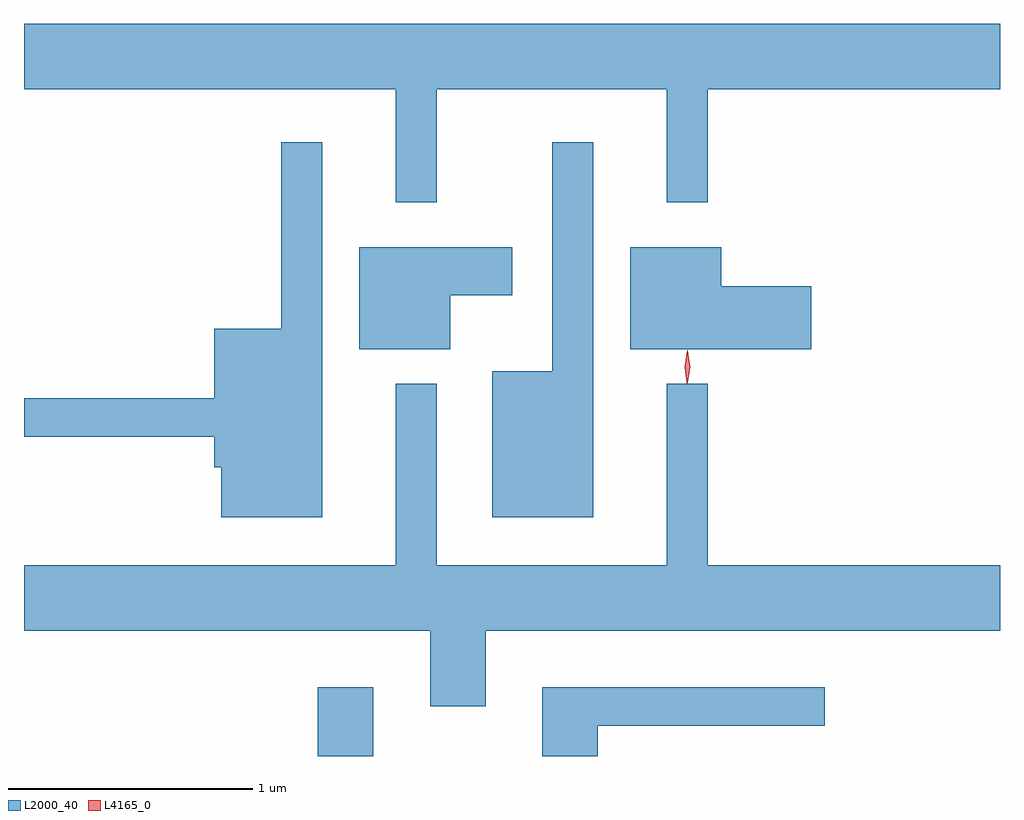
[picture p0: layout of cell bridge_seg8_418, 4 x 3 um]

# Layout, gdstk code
import gdstk
lib = gdstk.Library(unit=1e-6, precision=1e-09)
def R(c, l, rs):  # rectangles x0, y0, x1, y1
    for r in rs: c.add(gdstk.rectangle(r[:2], r[2:], *l))
def P(c, l, *ps):  # polygons
    for p in ps: c.add(gdstk.Polygon(p, *l))
L2000_40 = (2000, 40)
L4165_0 = (4165, 0)

bridge_seg8_418 = lib.new_cell('bridge_seg8_418')
R(bridge_seg8_418, L2000_40, [(921.651,1855.882,921.879,1856.164)])
P(bridge_seg8_418, L2000_40, [(922.139,1858.616),(923.081,1858.616),(923.081,1858.153),(923.249,1858.153),(923.249,1858.616),(924.447,1858.616),(924.447,1858.884),(920.447,1858.884),(920.447,1858.616),(921.971,1858.616),(921.971,1858.153),(922.139,1858.153)],
  [(921.669,1858.398),(921.501,1858.398),(921.501,1857.634),(921.226,1857.634),(921.226,1857.349),(920.447,1857.349),(920.447,1857.191),(921.226,1857.191),(921.226,1857.066),(921.256,1857.066),(921.256,1856.861),(921.669,1856.861)],
  [(922.779,1858.398),(922.611,1858.398),(922.611,1857.459),(922.366,1857.459),(922.366,1856.861),(922.779,1856.861)],
  [(922.194,1857.771),(922.449,1857.771),(922.449,1857.969),(921.821,1857.969),(921.821,1857.551),(922.194,1857.551)],
  [(923.674,1857.809),(923.304,1857.809),(923.304,1857.969),(922.931,1857.969),(922.931,1857.551),(923.674,1857.551)],
  [(922.339,1856.396),(924.447,1856.396),(924.447,1856.664),(923.249,1856.664),(923.249,1857.408),(923.081,1857.408),(923.081,1856.664),(922.139,1856.664),(922.139,1857.408),(921.971,1857.408),(921.971,1856.664),(920.447,1856.664),(920.447,1856.396),(922.111,1856.396),(922.111,1856.086),(922.339,1856.086)],
  [(922.799,1856.006),(923.728,1856.006),(923.728,1856.164),(922.571,1856.164),(922.571,1855.882),(922.799,1855.882)])
P(bridge_seg8_418, L4165_0, [(923.164,1857.41),(923.156,1857.478),(923.166,1857.545),(923.166,1857.546),(923.167,1857.545),(923.176,1857.478),(923.166,1857.41),(923.165,1857.41)],
  [(923.167,1857.413),(923.166,1857.414),(923.157,1857.476),(923.166,1857.539),(923.167,1857.54),(923.167,1857.539),(923.177,1857.476),(923.167,1857.414)])

lib.write_gds('bridge_seg8_418.gds')
